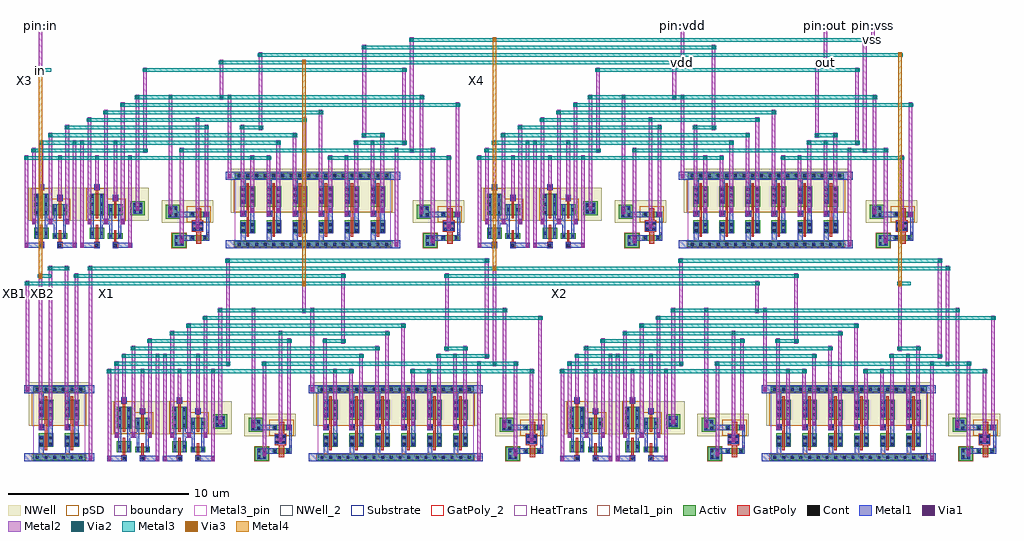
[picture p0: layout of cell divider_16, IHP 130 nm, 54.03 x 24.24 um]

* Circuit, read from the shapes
.subckt divider_16 in out vdd vss
XM1 dff_c2mos_4/sg13cmos5l_inv_1_12/A dff_c2mos_4/sg13cmos5l_inv_1_11/A dff_c2mos_4/d vss sg13_lv_nmos w=0.6u l=0.13u
XM2 sg13cmos5l_inv_1_1/A in vss vss sg13_lv_nmos w=0.74u l=0.13u
XM3 dff_c2mos_4/invlvw_9/y dff_c2mos_4/sg13cmos5l_inv_1_11/Y dff_c2mos_4/sg13cmos5l_inv_1_12/A vss sg13_lv_nmos w=0.3u l=0.13u
XM4 sg13cmos5l_inv_1_1/Y sg13cmos5l_inv_1_1/A vss vss sg13_lv_nmos w=0.74u l=0.13u
XM5 dff_c2mos_4/sg13cmos5l_inv_1_13/A dff_c2mos_4/sg13cmos5l_inv_1_11/Y dff_c2mos_4/sg13cmos5l_inv_1_12/Y vss sg13_lv_nmos w=0.6u l=0.13u
XM6 dff_c2mos_4/invlvw_16/y dff_c2mos_4/sg13cmos5l_inv_1_11/A dff_c2mos_4/sg13cmos5l_inv_1_13/A vss sg13_lv_nmos w=0.3u l=0.13u
XM7 dff_c2mos_2/sg13cmos5l_inv_1_12/A dff_c2mos_2/sg13cmos5l_inv_1_11/A dff_c2mos_2/d vss sg13_lv_nmos w=0.6u l=0.13u
XM8 dff_c2mos_2/invlvw_9/y dff_c2mos_2/sg13cmos5l_inv_1_11/Y dff_c2mos_2/sg13cmos5l_inv_1_12/A vss sg13_lv_nmos w=0.3u l=0.13u
XM9 dff_c2mos_2/sg13cmos5l_inv_1_13/A dff_c2mos_2/sg13cmos5l_inv_1_11/Y dff_c2mos_2/sg13cmos5l_inv_1_12/Y vss sg13_lv_nmos w=0.6u l=0.13u
XM10 dff_c2mos_4/invlvw_9/y dff_c2mos_4/sg13cmos5l_inv_1_12/Y vss vss sg13_lv_nmos w=0.3u l=0.3u
XM11 dff_c2mos_2/invlvw_16/y dff_c2mos_2/sg13cmos5l_inv_1_11/A dff_c2mos_2/sg13cmos5l_inv_1_13/A vss sg13_lv_nmos w=0.3u l=0.13u
XM12 dff_c2mos_4/sg13cmos5l_inv_1_11/A dff_c2mos_4/clk vss vss sg13_lv_nmos w=0.74u l=0.13u
XM13 dff_c2mos_4/sg13cmos5l_inv_1_11/Y dff_c2mos_4/sg13cmos5l_inv_1_11/A vss vss sg13_lv_nmos w=0.74u l=0.13u
XM14 dff_c2mos_2/invlvw_9/y dff_c2mos_2/sg13cmos5l_inv_1_12/Y vss vss sg13_lv_nmos w=0.3u l=0.3u
XM15 dff_c2mos_4/sg13cmos5l_inv_1_12/Y dff_c2mos_4/sg13cmos5l_inv_1_12/A vss vss sg13_lv_nmos w=0.74u l=0.13u
XM16 dff_c2mos_4/sg13cmos5l_inv_1_14/A dff_c2mos_4/sg13cmos5l_inv_1_13/A vss vss sg13_lv_nmos w=0.74u l=0.13u
XM17 dff_c2mos_2/sg13cmos5l_inv_1_11/A sg13cmos5l_inv_1_1/Y vss vss sg13_lv_nmos w=0.74u l=0.13u
XM18 dff_c2mos_4/d dff_c2mos_4/sg13cmos5l_inv_1_14/A vss vss sg13_lv_nmos w=0.74u l=0.13u
XM19 dff_c2mos_2/sg13cmos5l_inv_1_11/Y dff_c2mos_2/sg13cmos5l_inv_1_11/A vss vss sg13_lv_nmos w=0.74u l=0.13u
XM20 dff_c2mos_5/clk dff_c2mos_4/d vss vss sg13_lv_nmos w=0.74u l=0.13u
XM21 dff_c2mos_2/sg13cmos5l_inv_1_12/Y dff_c2mos_2/sg13cmos5l_inv_1_12/A vss vss sg13_lv_nmos w=0.74u l=0.13u
XM22 dff_c2mos_2/sg13cmos5l_inv_1_14/A dff_c2mos_2/sg13cmos5l_inv_1_13/A vss vss sg13_lv_nmos w=0.74u l=0.13u
XM23 dff_c2mos_2/d dff_c2mos_2/sg13cmos5l_inv_1_14/A vss vss sg13_lv_nmos w=0.74u l=0.13u
XM24 dff_c2mos_4/invlvw_16/y dff_c2mos_4/sg13cmos5l_inv_1_14/A vss vss sg13_lv_nmos w=0.3u l=0.3u
XM25 dff_c2mos_3/clk dff_c2mos_2/d vss vss sg13_lv_nmos w=0.74u l=0.13u
XM26 dff_c2mos_5/sg13cmos5l_inv_1_12/A dff_c2mos_5/sg13cmos5l_inv_1_11/A dff_c2mos_5/d vss sg13_lv_nmos w=0.6u l=0.13u
XM27 dff_c2mos_5/invlvw_9/y dff_c2mos_5/sg13cmos5l_inv_1_11/Y dff_c2mos_5/sg13cmos5l_inv_1_12/A vss sg13_lv_nmos w=0.3u l=0.13u
XM28 dff_c2mos_2/invlvw_16/y dff_c2mos_2/sg13cmos5l_inv_1_14/A vss vss sg13_lv_nmos w=0.3u l=0.3u
XM29 dff_c2mos_5/sg13cmos5l_inv_1_13/A dff_c2mos_5/sg13cmos5l_inv_1_11/Y dff_c2mos_5/sg13cmos5l_inv_1_12/Y vss sg13_lv_nmos w=0.6u l=0.13u
XM30 dff_c2mos_5/invlvw_16/y dff_c2mos_5/sg13cmos5l_inv_1_11/A dff_c2mos_5/sg13cmos5l_inv_1_13/A vss sg13_lv_nmos w=0.3u l=0.13u
XM31 dff_c2mos_3/sg13cmos5l_inv_1_12/A dff_c2mos_3/sg13cmos5l_inv_1_11/A dff_c2mos_3/d vss sg13_lv_nmos w=0.6u l=0.13u
XM32 dff_c2mos_3/invlvw_9/y dff_c2mos_3/sg13cmos5l_inv_1_11/Y dff_c2mos_3/sg13cmos5l_inv_1_12/A vss sg13_lv_nmos w=0.3u l=0.13u
XM33 dff_c2mos_3/sg13cmos5l_inv_1_13/A dff_c2mos_3/sg13cmos5l_inv_1_11/Y dff_c2mos_3/sg13cmos5l_inv_1_12/Y vss sg13_lv_nmos w=0.6u l=0.13u
XM34 dff_c2mos_5/invlvw_9/y dff_c2mos_5/sg13cmos5l_inv_1_12/Y vss vss sg13_lv_nmos w=0.3u l=0.3u
XM35 dff_c2mos_3/invlvw_16/y dff_c2mos_3/sg13cmos5l_inv_1_11/A dff_c2mos_3/sg13cmos5l_inv_1_13/A vss sg13_lv_nmos w=0.3u l=0.13u
XM36 dff_c2mos_5/sg13cmos5l_inv_1_11/A dff_c2mos_5/clk vss vss sg13_lv_nmos w=0.74u l=0.13u
XM37 dff_c2mos_5/sg13cmos5l_inv_1_11/Y dff_c2mos_5/sg13cmos5l_inv_1_11/A vss vss sg13_lv_nmos w=0.74u l=0.13u
XM38 dff_c2mos_3/invlvw_9/y dff_c2mos_3/sg13cmos5l_inv_1_12/Y vss vss sg13_lv_nmos w=0.3u l=0.3u
XM39 dff_c2mos_5/sg13cmos5l_inv_1_12/Y dff_c2mos_5/sg13cmos5l_inv_1_12/A vss vss sg13_lv_nmos w=0.74u l=0.13u
XM40 dff_c2mos_5/sg13cmos5l_inv_1_14/A dff_c2mos_5/sg13cmos5l_inv_1_13/A vss vss sg13_lv_nmos w=0.74u l=0.13u
XM41 dff_c2mos_3/sg13cmos5l_inv_1_11/A dff_c2mos_3/clk vss vss sg13_lv_nmos w=0.74u l=0.13u
XM42 dff_c2mos_5/d dff_c2mos_5/sg13cmos5l_inv_1_14/A vss vss sg13_lv_nmos w=0.74u l=0.13u
XM43 dff_c2mos_3/sg13cmos5l_inv_1_11/Y dff_c2mos_3/sg13cmos5l_inv_1_11/A vss vss sg13_lv_nmos w=0.74u l=0.13u
XM44 out dff_c2mos_5/d vss vss sg13_lv_nmos w=0.74u l=0.13u
XM45 dff_c2mos_3/sg13cmos5l_inv_1_12/Y dff_c2mos_3/sg13cmos5l_inv_1_12/A vss vss sg13_lv_nmos w=0.74u l=0.13u
XM46 dff_c2mos_3/sg13cmos5l_inv_1_14/A dff_c2mos_3/sg13cmos5l_inv_1_13/A vss vss sg13_lv_nmos w=0.74u l=0.13u
XM47 dff_c2mos_3/d dff_c2mos_3/sg13cmos5l_inv_1_14/A vss vss sg13_lv_nmos w=0.74u l=0.13u
XM48 dff_c2mos_5/invlvw_16/y dff_c2mos_5/sg13cmos5l_inv_1_14/A vss vss sg13_lv_nmos w=0.3u l=0.3u
XM49 dff_c2mos_4/clk dff_c2mos_3/d vss vss sg13_lv_nmos w=0.74u l=0.13u
XM50 dff_c2mos_3/invlvw_16/y dff_c2mos_3/sg13cmos5l_inv_1_14/A vss vss sg13_lv_nmos w=0.3u l=0.3u
XM51 dff_c2mos_4/sg13cmos5l_inv_1_12/A dff_c2mos_4/sg13cmos5l_inv_1_11/Y dff_c2mos_4/d vdd sg13_lv_pmos w=1.2u l=0.13u
XM52 sg13cmos5l_inv_1_1/A in vdd vdd sg13_lv_pmos w=1.12u l=0.13u
XM53 dff_c2mos_4/invlvw_9/y dff_c2mos_4/sg13cmos5l_inv_1_11/A dff_c2mos_4/sg13cmos5l_inv_1_12/A vdd sg13_lv_pmos w=0.6u l=0.13u
XM54 sg13cmos5l_inv_1_1/Y sg13cmos5l_inv_1_1/A vdd vdd sg13_lv_pmos w=1.12u l=0.13u
XM55 dff_c2mos_4/sg13cmos5l_inv_1_13/A dff_c2mos_4/sg13cmos5l_inv_1_11/A dff_c2mos_4/sg13cmos5l_inv_1_12/Y vdd sg13_lv_pmos w=1.2u l=0.13u
XM56 dff_c2mos_4/invlvw_16/y dff_c2mos_4/sg13cmos5l_inv_1_11/Y dff_c2mos_4/sg13cmos5l_inv_1_13/A vdd sg13_lv_pmos w=0.6u l=0.13u
XM57 dff_c2mos_2/sg13cmos5l_inv_1_12/A dff_c2mos_2/sg13cmos5l_inv_1_11/Y dff_c2mos_2/d vdd sg13_lv_pmos w=1.2u l=0.13u
XM58 dff_c2mos_2/invlvw_9/y dff_c2mos_2/sg13cmos5l_inv_1_11/A dff_c2mos_2/sg13cmos5l_inv_1_12/A vdd sg13_lv_pmos w=0.6u l=0.13u
XM59 dff_c2mos_2/sg13cmos5l_inv_1_13/A dff_c2mos_2/sg13cmos5l_inv_1_11/A dff_c2mos_2/sg13cmos5l_inv_1_12/Y vdd sg13_lv_pmos w=1.2u l=0.13u
XM60 dff_c2mos_4/invlvw_9/y dff_c2mos_4/sg13cmos5l_inv_1_12/Y vdd vdd sg13_lv_pmos w=0.3u l=0.3u
XM61 dff_c2mos_2/invlvw_16/y dff_c2mos_2/sg13cmos5l_inv_1_11/Y dff_c2mos_2/sg13cmos5l_inv_1_13/A vdd sg13_lv_pmos w=0.6u l=0.13u
XM62 dff_c2mos_4/sg13cmos5l_inv_1_11/A dff_c2mos_4/clk vdd vdd sg13_lv_pmos w=1.12u l=0.13u
XM63 dff_c2mos_4/sg13cmos5l_inv_1_11/Y dff_c2mos_4/sg13cmos5l_inv_1_11/A vdd vdd sg13_lv_pmos w=1.12u l=0.13u
XM64 dff_c2mos_2/invlvw_9/y dff_c2mos_2/sg13cmos5l_inv_1_12/Y vdd vdd sg13_lv_pmos w=0.3u l=0.3u
XM65 dff_c2mos_4/sg13cmos5l_inv_1_12/Y dff_c2mos_4/sg13cmos5l_inv_1_12/A vdd vdd sg13_lv_pmos w=1.12u l=0.13u
XM66 dff_c2mos_4/sg13cmos5l_inv_1_14/A dff_c2mos_4/sg13cmos5l_inv_1_13/A vdd vdd sg13_lv_pmos w=1.12u l=0.13u
XM67 dff_c2mos_2/sg13cmos5l_inv_1_11/A sg13cmos5l_inv_1_1/Y vdd vdd sg13_lv_pmos w=1.12u l=0.13u
XM68 dff_c2mos_4/d dff_c2mos_4/sg13cmos5l_inv_1_14/A vdd vdd sg13_lv_pmos w=1.12u l=0.13u
XM69 dff_c2mos_2/sg13cmos5l_inv_1_11/Y dff_c2mos_2/sg13cmos5l_inv_1_11/A vdd vdd sg13_lv_pmos w=1.12u l=0.13u
XM70 dff_c2mos_5/clk dff_c2mos_4/d vdd vdd sg13_lv_pmos w=1.12u l=0.13u
XM71 dff_c2mos_2/sg13cmos5l_inv_1_12/Y dff_c2mos_2/sg13cmos5l_inv_1_12/A vdd vdd sg13_lv_pmos w=1.12u l=0.13u
XM72 dff_c2mos_2/sg13cmos5l_inv_1_14/A dff_c2mos_2/sg13cmos5l_inv_1_13/A vdd vdd sg13_lv_pmos w=1.12u l=0.13u
XM73 dff_c2mos_2/d dff_c2mos_2/sg13cmos5l_inv_1_14/A vdd vdd sg13_lv_pmos w=1.12u l=0.13u
XM74 dff_c2mos_4/invlvw_16/y dff_c2mos_4/sg13cmos5l_inv_1_14/A vdd vdd sg13_lv_pmos w=0.3u l=0.3u
XM75 dff_c2mos_3/clk dff_c2mos_2/d vdd vdd sg13_lv_pmos w=1.12u l=0.13u
XM76 dff_c2mos_5/sg13cmos5l_inv_1_12/A dff_c2mos_5/sg13cmos5l_inv_1_11/Y dff_c2mos_5/d vdd sg13_lv_pmos w=1.2u l=0.13u
XM77 dff_c2mos_5/invlvw_9/y dff_c2mos_5/sg13cmos5l_inv_1_11/A dff_c2mos_5/sg13cmos5l_inv_1_12/A vdd sg13_lv_pmos w=0.6u l=0.13u
XM78 dff_c2mos_2/invlvw_16/y dff_c2mos_2/sg13cmos5l_inv_1_14/A vdd vdd sg13_lv_pmos w=0.3u l=0.3u
XM79 dff_c2mos_5/sg13cmos5l_inv_1_13/A dff_c2mos_5/sg13cmos5l_inv_1_11/A dff_c2mos_5/sg13cmos5l_inv_1_12/Y vdd sg13_lv_pmos w=1.2u l=0.13u
XM80 dff_c2mos_5/invlvw_16/y dff_c2mos_5/sg13cmos5l_inv_1_11/Y dff_c2mos_5/sg13cmos5l_inv_1_13/A vdd sg13_lv_pmos w=0.6u l=0.13u
XM81 dff_c2mos_3/sg13cmos5l_inv_1_12/A dff_c2mos_3/sg13cmos5l_inv_1_11/Y dff_c2mos_3/d vdd sg13_lv_pmos w=1.2u l=0.13u
XM82 dff_c2mos_3/invlvw_9/y dff_c2mos_3/sg13cmos5l_inv_1_11/A dff_c2mos_3/sg13cmos5l_inv_1_12/A vdd sg13_lv_pmos w=0.6u l=0.13u
XM83 dff_c2mos_3/sg13cmos5l_inv_1_13/A dff_c2mos_3/sg13cmos5l_inv_1_11/A dff_c2mos_3/sg13cmos5l_inv_1_12/Y vdd sg13_lv_pmos w=1.2u l=0.13u
XM84 dff_c2mos_5/invlvw_9/y dff_c2mos_5/sg13cmos5l_inv_1_12/Y vdd vdd sg13_lv_pmos w=0.3u l=0.3u
XM85 dff_c2mos_3/invlvw_16/y dff_c2mos_3/sg13cmos5l_inv_1_11/Y dff_c2mos_3/sg13cmos5l_inv_1_13/A vdd sg13_lv_pmos w=0.6u l=0.13u
XM86 dff_c2mos_5/sg13cmos5l_inv_1_11/A dff_c2mos_5/clk vdd vdd sg13_lv_pmos w=1.12u l=0.13u
XM87 dff_c2mos_5/sg13cmos5l_inv_1_11/Y dff_c2mos_5/sg13cmos5l_inv_1_11/A vdd vdd sg13_lv_pmos w=1.12u l=0.13u
XM88 dff_c2mos_3/invlvw_9/y dff_c2mos_3/sg13cmos5l_inv_1_12/Y vdd vdd sg13_lv_pmos w=0.3u l=0.3u
XM89 dff_c2mos_5/sg13cmos5l_inv_1_12/Y dff_c2mos_5/sg13cmos5l_inv_1_12/A vdd vdd sg13_lv_pmos w=1.12u l=0.13u
XM90 dff_c2mos_5/sg13cmos5l_inv_1_14/A dff_c2mos_5/sg13cmos5l_inv_1_13/A vdd vdd sg13_lv_pmos w=1.12u l=0.13u
XM91 dff_c2mos_3/sg13cmos5l_inv_1_11/A dff_c2mos_3/clk vdd vdd sg13_lv_pmos w=1.12u l=0.13u
XM92 dff_c2mos_5/d dff_c2mos_5/sg13cmos5l_inv_1_14/A vdd vdd sg13_lv_pmos w=1.12u l=0.13u
XM93 dff_c2mos_3/sg13cmos5l_inv_1_11/Y dff_c2mos_3/sg13cmos5l_inv_1_11/A vdd vdd sg13_lv_pmos w=1.12u l=0.13u
XM94 out dff_c2mos_5/d vdd vdd sg13_lv_pmos w=1.12u l=0.13u
XM95 dff_c2mos_3/sg13cmos5l_inv_1_12/Y dff_c2mos_3/sg13cmos5l_inv_1_12/A vdd vdd sg13_lv_pmos w=1.12u l=0.13u
XM96 dff_c2mos_3/sg13cmos5l_inv_1_14/A dff_c2mos_3/sg13cmos5l_inv_1_13/A vdd vdd sg13_lv_pmos w=1.12u l=0.13u
XM97 dff_c2mos_3/d dff_c2mos_3/sg13cmos5l_inv_1_14/A vdd vdd sg13_lv_pmos w=1.12u l=0.13u
XM98 dff_c2mos_5/invlvw_16/y dff_c2mos_5/sg13cmos5l_inv_1_14/A vdd vdd sg13_lv_pmos w=0.3u l=0.3u
XM99 dff_c2mos_4/clk dff_c2mos_3/d vdd vdd sg13_lv_pmos w=1.12u l=0.13u
XM100 dff_c2mos_3/invlvw_16/y dff_c2mos_3/sg13cmos5l_inv_1_14/A vdd vdd sg13_lv_pmos w=0.3u l=0.3u
.ends

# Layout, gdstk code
import gdstk
lib = gdstk.Library(unit=1e-6, precision=1e-09)
def R(c, l, rs):  # rectangles x0, y0, x1, y1
    for r in rs: c.add(gdstk.rectangle(r[:2], r[2:], *l))
def A(c, l, x, y, w, h, nx, ny, dx, dy):  # array of equal rectangles
    R(c, l, [(x+i*dx, y+j*dy, x+i*dx+w, y+j*dy+h) for i in range(nx) for j in range(ny)])
def P(c, l, *ps):  # polygons
    for p in ps: c.add(gdstk.Polygon(p, *l))
Activ = (1, 0)
GatPoly = (5, 0)
GatPoly_2 = (5, 2)
Cont = (6, 0)
Metal1 = (8, 0)
Metal1_pin = (8, 2)
Metal2 = (10, 0)
pSD = (14, 0)
Via1 = (19, 0)
Via2 = (29, 0)
Metal3 = (30, 0)
Metal3_pin = (30, 2)
NWell = (31, 0)
NWell_2 = (31, 2)
Substrate = (40, 0)
Via3 = (49, 0)
Metal4 = (50, 0)
HeatTrans = (51, 0)
boundary = (189, 4)

sg13cmos5l_inv_1 = lib.new_cell('sg13cmos5l_inv_1')
R(sg13cmos5l_inv_1, Activ, [(0,-0.15,1.44,0.15), (0.31,0.59,1.12,1.33), (0.31,2.075,1.12,3.195), (0,3.63,1.44,3.93)])
P(sg13cmos5l_inv_1, GatPoly, [(0.65,0.41),(0.65,1.52),(0.31,1.52),(0.31,1.85),(0.65,1.85),(0.65,3.375),(0.78,3.375),(0.78,0.41)])
A(sg13cmos5l_inv_1, Cont, 0.38, 2.285, 0.16, 0.16, 1, 3, 0, 0.34)
A(sg13cmos5l_inv_1, Cont, 0.89, 2.285, 0.16, 0.16, 1, 3, 0, 0.34)
R(sg13cmos5l_inv_1, Cont, [(0.16,-0.08,0.32,0.08), (0.16,-0.08,0.32,0.08), (0.64,-0.08,0.8,0.08), (0.64,-0.08,0.8,0.08), (1.12,-0.08,1.28,0.08), (1.12,-0.08,1.28,0.08), (0.38,0.66,0.54,0.82), (0.89,0.66,1.05,0.82), (0.38,1,0.54,1.16), (0.89,1,1.05,1.16), (0.395,1.605,0.555,1.765), (0.16,3.7,0.32,3.86), (0.16,3.7,0.32,3.86), (0.64,3.7,0.8,3.86), (0.64,3.7,0.8,3.86), (1.12,3.7,1.28,3.86), (1.12,3.7,1.28,3.86)])
R(sg13cmos5l_inv_1, Metal1, [(0.855,0.61,1.085,3.175), (0.31,1.52,0.625,1.85)])
P(sg13cmos5l_inv_1, Metal1, [(0,-0.22),(0,0.22),(0.33,0.22),(0.33,1.21),(0.59,1.21),(0.59,0.22),(1.44,0.22),(1.44,-0.22)],
  [(0.33,2.235),(0.33,3.56),(0,3.56),(0,4),(1.44,4),(1.44,3.56),(0.59,3.56),(0.59,2.235)])
R(sg13cmos5l_inv_1, Metal1_pin, [(0,-0.22,1.44,0.22), (0.855,0.61,1.085,3.175), (0.31,1.52,0.625,1.85), (0,3.56,1.44,4)])
R(sg13cmos5l_inv_1, pSD, [(-0.07,-0.18,1.51,0.18), (-0.07,1.76,1.51,3.6)])
R(sg13cmos5l_inv_1, NWell, [(-0.24,1.75,1.68,4.17)])
R(sg13cmos5l_inv_1, boundary, [(0,0,1.44,3.78)])
sg13cmos5l_inv_1.add(gdstk.Label('VDD', (0.705,3.78), layer=8, texttype=25))
sg13cmos5l_inv_1.add(gdstk.Label('VSS', (0.72,-0.02), layer=8, texttype=25))
sg13cmos5l_inv_1.add(gdstk.Label('A', (0.48,1.68), layer=8, texttype=25))
sg13cmos5l_inv_1.add(gdstk.Label('Y', (0.98,1.69), layer=8, texttype=25))

nmos_1 = lib.new_cell('nmos$1')
R(nmos_1, Activ, [(0,0,0.3,0.3), (0,0,0.81,0.6), (0.51,0,0.81,0.3)])
R(nmos_1, GatPoly, [(0.34,-0.18,0.47,0.78)])
R(nmos_1, GatPoly_2, [(0.34,-0.18,0.47,0.78)])
R(nmos_1, Cont, [(0.07,0.22,0.23,0.38), (0.58,0.22,0.74,0.38)])
R(nmos_1, Metal1, [(0.07,0,0.23,0.6), (0.58,0,0.74,0.6)])
R(nmos_1, Metal1_pin, [(0.07,0,0.23,0.6), (0.58,0,0.74,0.6)])
R(nmos_1, HeatTrans, [(0.34,-0.18,0.47,0.78)])
nmos_1.add(gdstk.Label('nmos', (0.405,0.3), layer=63, texttype=0))
nmos_1.add(gdstk.Label('nmos', (0.405,0.3), layer=51, texttype=0))

pmos_1 = lib.new_cell('pmos$1')
R(pmos_1, Activ, [(0,0,0.3,0.3), (0,0,0.81,1.2), (0.51,0,0.81,0.3)])
R(pmos_1, GatPoly, [(0.34,-0.18,0.47,1.38), (0.34,-0.18,0.47,1.38)])
A(pmos_1, Cont, 0.07, 0.07, 0.16, 0.16, 1, 3, 0, 0.45)
A(pmos_1, Cont, 0.58, 0.07, 0.16, 0.16, 1, 3, 0, 0.45)
R(pmos_1, Metal1, [(0.07,0,0.23,1.2), (0.07,0,0.23,1.2), (0.58,0,0.74,1.2), (0.58,0,0.74,1.2)])
R(pmos_1, pSD, [(-0.18,-0.3,0.99,1.5)])
R(pmos_1, NWell, [(-0.31,-0.31,1.12,1.51)])
R(pmos_1, HeatTrans, [(0.34,-0.18,0.47,1.38)])
pmos_1.add(gdstk.Label('pmos', (0.405,0.6), layer=63, texttype=0))
pmos_1.add(gdstk.Label('pmos', (0.405,0.6), layer=51, texttype=0))

nmos_2_1 = lib.new_cell('nmos$2$1')
R(nmos_2_1, Activ, [(0,0,0.3,0.3), (0,0,0.81,0.3), (0.51,0,0.81,0.3)])
R(nmos_2_1, GatPoly, [(0.34,-0.18,0.47,0.48)])
R(nmos_2_1, GatPoly_2, [(0.34,-0.18,0.47,0.48)])
R(nmos_2_1, Cont, [(0.07,0.07,0.23,0.23), (0.58,0.07,0.74,0.23)])
R(nmos_2_1, Metal1, [(0.07,0,0.23,0.3), (0.58,0,0.74,0.3)])
R(nmos_2_1, Metal1_pin, [(0.07,0,0.23,0.3), (0.58,0,0.74,0.3)])
R(nmos_2_1, HeatTrans, [(0.34,-0.18,0.47,0.48)])
nmos_2_1.add(gdstk.Label('nmos', (0.405,0.15), layer=63, texttype=0))
nmos_2_1.add(gdstk.Label('nmos', (0.405,0.15), layer=51, texttype=0))

pmos_2_1 = lib.new_cell('pmos$2$1')
R(pmos_2_1, Activ, [(0,0,0.3,0.3), (0,0,0.81,0.6), (0.51,0,0.81,0.3)])
R(pmos_2_1, GatPoly, [(0.34,-0.18,0.47,0.78), (0.34,-0.18,0.47,0.78)])
R(pmos_2_1, Cont, [(0.07,0.22,0.23,0.38), (0.58,0.22,0.74,0.38)])
R(pmos_2_1, Metal1, [(0.07,0,0.23,0.6), (0.07,0,0.23,0.6), (0.58,0,0.74,0.6), (0.58,0,0.74,0.6)])
R(pmos_2_1, pSD, [(-0.18,-0.3,0.99,0.9)])
R(pmos_2_1, NWell, [(-0.31,-0.31,1.12,0.91)])
R(pmos_2_1, HeatTrans, [(0.34,-0.18,0.47,0.78)])
pmos_2_1.add(gdstk.Label('pmos', (0.405,0.3), layer=63, texttype=0))
pmos_2_1.add(gdstk.Label('pmos', (0.405,0.3), layer=51, texttype=0))

ntap1 = lib.new_cell('ntap1')
R(ntap1, Activ, [(0,0,0.78,0.78)])
R(ntap1, Cont, [(0.14,0.14,0.3,0.3), (0.48,0.14,0.64,0.3), (0.14,0.48,0.3,0.64), (0.48,0.48,0.64,0.64)])
R(ntap1, Metal1, [(0.14,0.09,0.64,0.69)])
R(ntap1, Metal1_pin, [(0.14,0.09,0.64,0.69), (0.14,0.14,0.64,0.64)])
R(ntap1, NWell, [(-0.24,-0.24,1.02,1.02), (0,0,0.78,0.78)])
R(ntap1, NWell_2, [(0,0,0.78,0.78)])
ntap1.add(gdstk.Label('well', (0.39,0.01), layer=31, texttype=0))
ntap1.add(gdstk.Label('well', (0.39,0.01), layer=63, texttype=0))

pmos_3 = lib.new_cell('pmos$3')
R(pmos_3, Activ, [(0,0,0.3,0.3), (0,0,0.98,0.3), (0.68,0,0.98,0.3)])
R(pmos_3, GatPoly, [(0.34,-0.18,0.64,0.48), (0.34,-0.18,0.64,0.48)])
R(pmos_3, Cont, [(0.07,0.07,0.23,0.23), (0.75,0.07,0.91,0.23)])
R(pmos_3, Metal1, [(0.07,0,0.23,0.3), (0.07,0,0.23,0.3), (0.75,0,0.91,0.3), (0.75,0,0.91,0.3)])
R(pmos_3, pSD, [(-0.18,-0.3,1.16,0.6)])
R(pmos_3, NWell, [(-0.31,-0.31,1.29,0.61)])
R(pmos_3, HeatTrans, [(0.34,-0.18,0.64,0.48)])
pmos_3.add(gdstk.Label('pmos', (0.49,0.15), layer=63, texttype=0))
pmos_3.add(gdstk.Label('pmos', (0.49,0.15), layer=51, texttype=0))

nmos_5 = lib.new_cell('nmos$5')
R(nmos_5, Activ, [(0,0,0.3,0.3), (0,0,0.98,0.3), (0.68,0,0.98,0.3)])
R(nmos_5, GatPoly, [(0.34,-0.18,0.64,0.48)])
R(nmos_5, GatPoly_2, [(0.34,-0.18,0.64,0.48)])
R(nmos_5, Cont, [(0.07,0.07,0.23,0.23), (0.75,0.07,0.91,0.23)])
R(nmos_5, Metal1, [(0.07,0,0.23,0.3), (0.75,0,0.91,0.3)])
R(nmos_5, Metal1_pin, [(0.07,0,0.23,0.3), (0.75,0,0.91,0.3)])
R(nmos_5, HeatTrans, [(0.34,-0.18,0.64,0.48)])
nmos_5.add(gdstk.Label('nmos', (0.49,0.15), layer=63, texttype=0))
nmos_5.add(gdstk.Label('nmos', (0.49,0.15), layer=51, texttype=0))

ptap1 = lib.new_cell('ptap1')
R(ptap1, Activ, [(0,0,0.78,0.78)])
R(ptap1, Cont, [(0.14,0.14,0.3,0.3), (0.48,0.14,0.64,0.3), (0.14,0.48,0.3,0.64), (0.48,0.48,0.64,0.64)])
R(ptap1, Metal1, [(0.14,0.09,0.64,0.69), (0.14,0.14,0.64,0.64)])
R(ptap1, Metal1_pin, [(0.14,0.14,0.64,0.64)])
R(ptap1, pSD, [(-0.03,-0.03,0.81,0.81)])
R(ptap1, Substrate, [(0,0,0.78,0.78)])
ptap1.add(gdstk.Label('sub!', (0.39,0.01), layer=63, texttype=0))
ptap1.add(gdstk.Label('sub!', (0.39,0.01), layer=40, texttype=0))

via_stack = lib.new_cell('via_stack')
R(via_stack, GatPoly, [(-0.32,-0.32,0.32,0.32)])
R(via_stack, Cont, [(-0.25,-0.25,-0.09,-0.09), (0.09,-0.25,0.25,-0.09), (-0.25,0.09,-0.09,0.25), (0.09,0.09,0.25,0.25)])
R(via_stack, Metal1, [(-0.3,-0.25,0.3,0.25)])

invlvw = lib.new_cell('invlvw')
R(invlvw, Metal1, [(1.22,0.43,1.64,0.73), (2.48,0.43,2.64,2.03), (0.88,1.73,1.64,2.03)])
R(invlvw, Metal1_pin, [(1.66,0.5,1.79,0.63), (2.49,0.76,2.62,0.89), (1.99,1.18,2.12,1.31), (1.655,1.815,1.785,1.945)])
R(invlvw, NWell, [(0,1.4,2.86,2.66)])
invlvw.add(gdstk.Reference(ntap1, (0.24,1.64)))
invlvw.add(gdstk.Reference(pmos_3, (1.57,1.73)))
invlvw.add(gdstk.Reference(nmos_5, (1.57,0.43)))
invlvw.add(gdstk.Reference(ptap1, (0.58,0.04)))
invlvw.add(gdstk.Reference(via_stack, (2,1.23)))
invlvw.add(gdstk.Label('vdd', (1.72,1.88), layer=8, texttype=25))
invlvw.add(gdstk.Label('a', (2.05,1.24), layer=8, texttype=25))
invlvw.add(gdstk.Label('vss', (1.724,0.574), layer=8, texttype=25))
invlvw.add(gdstk.Label('y', (2.543,0.833), layer=8, texttype=25))
invlvw.add(gdstk.Label('MMP', (1.26,2.13), layer=63, texttype=0))
invlvw.add(gdstk.Label('MMN', (1.601,0.771), layer=63, texttype=0))

dff_c2mos = lib.new_cell('dff_c2mos')
R(dff_c2mos, GatPoly, [(0.775,0.01,1.075,0.34), (1.795,0.01,2.095,0.34), (3.845,0.01,4.145,0.34), (4.865,0.01,5.165,0.34), (1.795,2.6,2.095,2.93), (4.865,2.6,5.165,2.93), (0.775,3.2,1.075,3.53), (3.845,3.2,4.145,3.53)])
R(dff_c2mos, Cont, [(0.845,0.08,1.005,0.24), (1.865,0.08,2.025,0.24), (3.915,0.08,4.075,0.24), (4.935,0.08,5.095,0.24), (1.865,2.7,2.025,2.86), (4.935,2.7,5.095,2.86), (0.845,3.3,1.005,3.46), (3.915,3.3,4.075,3.46)])
A(dff_c2mos, Metal1, 0.41, 1.325, 0.21, 0.29, 3, 1, 0.92, 0)
A(dff_c2mos, Metal1, 3.48, 1.325, 0.21, 0.29, 3, 1, 0.92, 0)
A(dff_c2mos, Metal1, 11.945, 1.76, 0.21, 0.29, 6, 1, 1.44, 0)
A(dff_c2mos, Metal1, 12.49, 1.965, 0.21, 0.29, 6, 1, 1.44, 0)
R(dff_c2mos, Metal1, [(0.775,0,1.075,0.32), (1.795,0,2.095,0.32), (3.845,0,4.145,0.32), (4.865,0,5.165,0.32), (11.135,0,11.635,0.44), (20.275,0,20.775,0.44), (0,0.015,0.925,0.305), (0,0.015,0.21,0.305), (0.21,0.015,0.925,0.305), (1.945,0.015,2.87,0.305), (1.945,0.015,2.66,0.305), (2.66,0.015,2.87,0.305), (3.07,0.015,3.995,0.305), (3.07,0.015,3.28,0.305), (3.28,0.015,3.995,0.305), (5.015,0.015,5.94,0.305), (5.015,0.015,5.73,0.305), (5.73,0.015,5.94,0.305), (20.47,0.075,20.68,0.365), (8.585,0.275,8.795,0.565), (22.485,0.275,22.695,0.565), (0.59,0.52,0.75,3.02), (1.1,0.52,1.26,3.02), (1.61,0.52,1.77,2.42), (2.12,0.52,2.28,2.42), (3.66,0.52,3.82,3.02), (4.17,0.52,4.33,3.02), (4.68,0.52,4.84,2.42), (5.19,0.52,5.35,2.42), (9.47,1.075,9.68,1.365), (23.37,1.075,23.58,1.365), (0.41,1.325,0.75,1.615), (1.1,1.325,1.77,1.615), (2.12,1.325,2.46,1.615), (3.48,1.325,3.82,1.615), (4.17,1.325,4.84,1.615), (5.19,1.325,5.53,1.615), (9.95,1.725,10.16,2.015), (23.85,1.725,24.06,2.015), (7.97,1.875,8.18,2.165), (21.87,1.875,22.08,2.165), (6.14,2.065,6.35,2.355), (1.795,2.62,2.095,2.94), (4.865,2.62,5.165,2.94), (1.84,2.635,2.05,2.925), (4.91,2.635,5.12,2.925), (0.775,3.22,1.075,3.54), (3.845,3.22,4.145,3.54), (0.82,3.235,1.03,3.525), (3.89,3.235,4.1,3.525), (11.135,3.78,11.635,4.22), (20.275,3.78,20.775,4.22), (11.23,3.855,11.44,4.145)])
R(dff_c2mos, Metal2, [(0.005,0.015,0.205,5.135), (2.665,0.015,2.865,5.975), (3.075,0.015,3.275,5.975), (5.735,0.015,5.935,5.135), (20.475,0.075,20.675,5.555), (8.59,0.275,8.79,5.555), (22.49,0.275,22.69,5.555), (9.475,1.075,9.675,7.235), (23.375,1.075,23.575,5.135), (0.415,1.325,0.615,5.555), (1.335,1.325,1.535,6.395), (2.255,1.325,2.455,6.815), (3.485,1.325,3.685,7.235), (4.405,1.325,4.605,7.655), (5.325,1.325,5.525,8.075), (9.955,1.725,10.155,6.815), (23.855,1.725,24.055,8.075), (11.95,1.76,12.15,6.815), (13.39,1.76,13.59,5.135), (14.83,1.76,15.03,6.395), (16.27,1.76,16.47,7.655), (17.71,1.76,17.91,5.135), (19.15,1.76,19.35,5.975), (7.975,1.875,8.175,8.495), (21.875,1.875,22.075,8.495), (12.495,1.965,12.695,5.135), (13.935,1.965,14.135,5.975), (15.375,1.965,15.575,7.235), (16.815,1.965,17.015,5.135), (18.255,1.965,18.455,5.975), (19.695,1.965,19.895,6.395), (6.145,2.065,6.345,8.495), (1.845,2.635,2.045,5.135), (4.915,2.635,5.115,5.975), (0.825,3.235,1.025,5.975), (3.895,3.235,4.095,5.135), (11.235,3.855,11.435,8.495), (6.565,5.265,6.765,9.25), (21.325,5.265,21.525,9.25), (20.9,5.685,21.1,9.25), (18.695,6.105,18.895,9.25), (12.95,6.525,13.15,9.25), (10.785,8.205,10.985,9.25)])
A(dff_c2mos, Via1, 0.42, 1.375, 0.19, 0.19, 3, 1, 0.92, 0)
A(dff_c2mos, Via1, 3.49, 1.375, 0.19, 0.19, 3, 1, 0.92, 0)
A(dff_c2mos, Via1, 11.955, 1.81, 0.19, 0.19, 6, 1, 1.44, 0)
A(dff_c2mos, Via1, 12.5, 2.015, 0.19, 0.19, 6, 1, 1.44, 0)
R(dff_c2mos, Via1, [(0.01,0.065,0.2,0.255), (2.67,0.065,2.86,0.255), (3.08,0.065,3.27,0.255), (5.74,0.065,5.93,0.255), (20.48,0.125,20.67,0.315), (8.595,0.325,8.785,0.515), (22.495,0.325,22.685,0.515), (9.48,1.125,9.67,1.315), (23.38,1.125,23.57,1.315), (9.96,1.775,10.15,1.965), (23.86,1.775,24.05,1.965), (7.98,1.925,8.17,2.115), (21.88,1.925,22.07,2.115), (6.15,2.115,6.34,2.305), (1.85,2.685,2.04,2.875), (4.92,2.685,5.11,2.875), (0.83,3.285,1.02,3.475), (3.9,3.285,4.09,3.475), (11.24,3.905,11.43,4.095)])
R(dff_c2mos, Via2, [(0.01,4.895,0.2,5.085), (1.85,4.895,2.04,5.085), (3.9,4.895,4.09,5.085), (5.74,4.895,5.93,5.085), (12.5,4.895,12.69,5.085), (13.395,4.895,13.585,5.085), (16.82,4.895,17.01,5.085), (17.715,4.895,17.905,5.085), (23.38,4.895,23.57,5.085), (0.42,5.315,0.61,5.505), (6.57,5.315,6.76,5.505), (8.595,5.315,8.785,5.505), (20.48,5.315,20.67,5.505), (21.33,5.315,21.52,5.505), (22.495,5.315,22.685,5.505), (0.83,5.735,1.02,5.925), (2.67,5.735,2.86,5.925), (3.08,5.735,3.27,5.925), (4.92,5.735,5.11,5.925), (13.94,5.735,14.13,5.925), (18.26,5.735,18.45,5.925), (19.155,5.735,19.345,5.925), (20.905,5.735,21.095,5.925), (1.34,6.155,1.53,6.345), (14.835,6.155,15.025,6.345), (18.7,6.155,18.89,6.345), (19.7,6.155,19.89,6.345), (2.26,6.575,2.45,6.765), (9.96,6.575,10.15,6.765), (11.955,6.575,12.145,6.765), (12.955,6.575,13.145,6.765), (3.49,6.995,3.68,7.185), (9.48,6.995,9.67,7.185), (15.38,6.995,15.57,7.185), (4.41,7.415,4.6,7.605), (16.275,7.415,16.465,7.605), (5.33,7.835,5.52,8.025), (23.86,7.835,24.05,8.025), (6.15,8.255,6.34,8.445), (7.98,8.255,8.17,8.445), (10.79,8.255,10.98,8.445), (11.24,8.255,11.43,8.445), (21.88,8.255,22.07,8.445)])
R(dff_c2mos, Metal3, [(-0.04,4.89,13.635,5.09), (16.77,4.89,23.62,5.09), (0.37,5.31,6.81,5.51), (8.545,5.31,22.735,5.51), (0.78,5.73,14.18,5.93), (18.21,5.73,21.145,5.93), (1.29,6.15,15.075,6.35), (18.65,6.15,19.94,6.35), (2.21,6.57,10.2,6.77), (11.905,6.57,13.195,6.77), (3.44,6.99,15.62,7.19), (4.36,7.41,16.515,7.61), (5.28,7.83,24.1,8.03), (6.1,8.25,22.12,8.45)])
R(dff_c2mos, Metal3_pin, [(6.6,5.345,6.73,5.475), (21.36,5.345,21.49,5.475), (20.935,5.765,21.065,5.895), (18.73,6.185,18.86,6.315), (12.985,6.605,13.115,6.735), (10.82,8.285,10.95,8.415)])
R(dff_c2mos, NWell, [(0.21,1.51,6.875,3.33)])
dff_c2mos.add(gdstk.Reference(nmos_1, (0.52,0.52)))
dff_c2mos.add(gdstk.Reference(pmos_1, (0.52,1.82)))
dff_c2mos.add(gdstk.Reference(nmos_2_1, (1.54,0.52)))
dff_c2mos.add(gdstk.Reference(pmos_2_1, (1.54,1.82)))
dff_c2mos.add(gdstk.Reference(nmos_1, (3.59,0.52)))
dff_c2mos.add(gdstk.Reference(pmos_1, (3.59,1.82)))
dff_c2mos.add(gdstk.Reference(nmos_2_1, (4.61,0.52)))
dff_c2mos.add(gdstk.Reference(pmos_2_1, (4.61,1.82)))
dff_c2mos.add(gdstk.Reference(ntap1, (5.855,1.82)))
dff_c2mos.add(gdstk.Reference(invlvw, (7.575,-0.01)))
dff_c2mos.add(gdstk.Reference(sg13cmos5l_inv_1, (11.635,0.22)))
dff_c2mos.add(gdstk.Reference(sg13cmos5l_inv_1, (13.075,0.22)))
dff_c2mos.add(gdstk.Reference(sg13cmos5l_inv_1, (14.515,0.22)))
dff_c2mos.add(gdstk.Reference(sg13cmos5l_inv_1, (15.955,0.22)))
dff_c2mos.add(gdstk.Reference(sg13cmos5l_inv_1, (17.395,0.22)))
dff_c2mos.add(gdstk.Reference(sg13cmos5l_inv_1, (18.835,0.22)))
dff_c2mos.add(gdstk.Reference(invlvw, (21.475,-0.01)))
dff_c2mos.add(gdstk.Label('d', (6.665,5.41), layer=30, texttype=25))
dff_c2mos.add(gdstk.Label('clk', (13.05,6.67), layer=30, texttype=25))
dff_c2mos.add(gdstk.Label('q', (18.795,6.25), layer=30, texttype=25))
dff_c2mos.add(gdstk.Label('qb', (21,5.83), layer=30, texttype=25))
dff_c2mos.add(gdstk.Label('vdd', (10.885,8.35), layer=30, texttype=25))
dff_c2mos.add(gdstk.Label('vss', (21.425,5.41), layer=30, texttype=25))
dff_c2mos.add(gdstk.Label('MT1 MT2 MT3 MT4', (0,4.44), layer=63, texttype=0))
dff_c2mos.add(gdstk.Label('XI2', (7.575,4.44), layer=63, texttype=0))
dff_c2mos.add(gdstk.Label('XI0 XI9 XI1 XI3 XI5 XI6', (11.135,4.44), layer=63, texttype=0))
dff_c2mos.add(gdstk.Label('XI4', (21.475,4.44), layer=63, texttype=0))
dff_c2mos.add(gdstk.Label('pin:d', (6.665,9.15), layer=63, texttype=0))
dff_c2mos.add(gdstk.Label('pin:clk', (13.05,9.15), layer=63, texttype=0))
dff_c2mos.add(gdstk.Label('pin:q', (18.795,9.15), layer=63, texttype=0))
dff_c2mos.add(gdstk.Label('pin:qb', (21,9.15), layer=63, texttype=0))
dff_c2mos.add(gdstk.Label('pin:vdd', (10.885,9.15), layer=63, texttype=0))
dff_c2mos.add(gdstk.Label('pin:vss', (21.425,9.15), layer=63, texttype=0))

divider_16 = lib.new_cell('divider_16')
R(divider_16, Metal1, [(0,0,0.5,0.44), (3.38,0,3.88,0.44), (3.575,0.075,3.785,0.365), (0.81,1.76,1.02,2.05), (2.25,1.76,2.46,2.05), (1.355,1.965,1.565,2.255), (2.795,1.965,3.005,2.255), (0,3.78,0.5,4.22), (3.38,3.78,3.88,4.22), (0.095,3.855,0.305,4.145)])
R(divider_16, Metal2, [(3.58,0.075,3.78,10.835), (0.815,1.76,1.015,10.415), (2.255,1.76,2.455,10.835), (1.36,1.965,1.56,10.835), (2.8,1.965,3,10.415), (0.1,3.855,0.3,9.995), (11.185,9.105,11.385,11.255), (15.405,9.105,15.605,9.995), (17.57,9.105,17.77,10.415), (23.315,9.105,23.515,10.415), (25.52,9.105,25.72,11.255), (25.945,9.105,26.145,10.835), (36.26,9.105,36.46,11.255), (40.48,9.105,40.68,9.995), (42.645,9.105,42.845,10.415), (48.39,9.105,48.59,9.995), (50.595,9.105,50.795,11.255), (51.02,9.105,51.22,10.835), (6.605,20.915,6.805,21.805), (10.825,20.915,11.025,22.225), (12.99,20.915,13.19,22.645), (18.735,20.915,18.935,23.065), (20.94,20.915,21.14,21.805), (21.365,20.915,21.565,23.485), (31.68,20.915,31.88,21.805), (35.9,20.915,36.1,22.225), (38.065,20.915,38.265,23.065), (43.81,20.915,44.01,22.225), (46.015,20.915,46.215,21.805), (46.44,20.915,46.64,23.485), (0.815,21.515,1.015,24.24), (36.35,21.935,36.55,24.24), (44.26,21.935,44.46,24.24), (46.89,23.195,47.09,24.24)])
R(divider_16, Via1, [(3.585,0.125,3.775,0.315), (0.82,1.81,1.01,2), (2.26,1.81,2.45,2), (1.365,2.015,1.555,2.205), (2.805,2.015,2.995,2.205), (0.105,3.905,0.295,4.095)])
R(divider_16, Via2, [(0.105,9.755,0.295,9.945), (15.41,9.755,15.6,9.945), (40.485,9.755,40.675,9.945), (48.395,9.755,48.585,9.945), (0.82,10.175,1.01,10.365), (2.805,10.175,2.995,10.365), (17.575,10.175,17.765,10.365), (23.32,10.175,23.51,10.365), (42.65,10.175,42.84,10.365), (1.365,10.595,1.555,10.785), (2.26,10.595,2.45,10.785), (3.585,10.595,3.775,10.785), (25.95,10.595,26.14,10.785), (51.025,10.595,51.215,10.785), (11.19,11.015,11.38,11.205), (25.525,11.015,25.715,11.205), (36.265,11.015,36.455,11.205), (50.6,11.015,50.79,11.205), (0.82,21.565,1.01,21.755), (6.61,21.565,6.8,21.755), (20.945,21.565,21.135,21.755), (31.685,21.565,31.875,21.755), (46.02,21.565,46.21,21.755), (10.83,21.985,11.02,22.175), (35.905,21.985,36.095,22.175), (36.355,21.985,36.545,22.175), (43.815,21.985,44.005,22.175), (44.265,21.985,44.455,22.175), (12.995,22.405,13.185,22.595), (18.74,22.825,18.93,23.015), (38.07,22.825,38.26,23.015), (21.37,23.245,21.56,23.435), (46.445,23.245,46.635,23.435), (46.895,23.245,47.085,23.435)])
R(divider_16, Metal3, [(0.055,9.75,40.725,9.95), (48.345,9.75,49.095,9.95), (0.77,10.17,1.52,10.37), (2.755,10.17,17.815,10.37), (23.27,10.17,42.89,10.37), (1.315,10.59,2.5,10.79), (3.535,10.59,51.265,10.79), (11.14,11.01,25.765,11.21), (36.215,11.01,50.84,11.21), (0.77,21.56,1.52,21.76), (6.56,21.56,21.185,21.76), (31.635,21.56,46.26,21.76), (10.78,21.98,36.595,22.18), (43.765,21.98,44.515,22.18), (12.945,22.4,48.635,22.6), (18.69,22.82,38.31,23.02), (21.32,23.24,47.135,23.44)])
R(divider_16, Metal3_pin, [(0.85,21.595,0.98,21.725), (36.385,22.015,36.515,22.145), (44.295,22.015,44.425,22.145), (46.925,23.275,47.055,23.405)])
R(divider_16, Via3, [(15.41,9.755,15.6,9.945), (48.395,9.755,48.585,9.945), (0.82,10.175,1.01,10.365), (25.95,10.595,26.14,10.785), (0.82,21.565,1.01,21.755), (15.41,21.985,15.6,22.175), (48.395,22.405,48.585,22.595), (25.95,23.245,26.14,23.435)])
R(divider_16, Metal4, [(15.405,9.705,15.605,22.225), (48.39,9.705,48.59,22.645), (0.815,10.125,1.015,21.805), (25.945,10.545,26.145,23.485)])
divider_16.add(gdstk.Reference(sg13cmos5l_inv_1, (0.5,0.22)))
divider_16.add(gdstk.Reference(sg13cmos5l_inv_1, (1.94,0.22)))
divider_16.add(gdstk.Reference(dff_c2mos, (4.62,0)))
divider_16.add(gdstk.Reference(dff_c2mos, (29.695,0)))
divider_16.add(gdstk.Reference(dff_c2mos, (0.04,11.81)))
divider_16.add(gdstk.Reference(dff_c2mos, (25.115,11.81)))
divider_16.add(gdstk.Label('in', (0.915,21.66), layer=30, texttype=25))
divider_16.add(gdstk.Label('out', (44.36,22.08), layer=30, texttype=25))
divider_16.add(gdstk.Label('vdd', (36.45,22.08), layer=30, texttype=25))
divider_16.add(gdstk.Label('vss', (46.99,23.34), layer=30, texttype=25))
divider_16.add(gdstk.Label('XB1 XB2', (0,9.3), layer=63, texttype=0))
divider_16.add(gdstk.Label('X1', (4.58,9.3), layer=63, texttype=0))
divider_16.add(gdstk.Label('X2', (29.655,9.3), layer=63, texttype=0))
divider_16.add(gdstk.Label('X3', (0,21.11), layer=63, texttype=0))
divider_16.add(gdstk.Label('X4', (25.075,21.11), layer=63, texttype=0))
divider_16.add(gdstk.Label('pin:in', (0.915,24.14), layer=63, texttype=0))
divider_16.add(gdstk.Label('pin:out', (44.36,24.14), layer=63, texttype=0))
divider_16.add(gdstk.Label('pin:vdd', (36.45,24.14), layer=63, texttype=0))
divider_16.add(gdstk.Label('pin:vss', (46.99,24.14), layer=63, texttype=0))

lib.write_gds('divider_16.gds')
